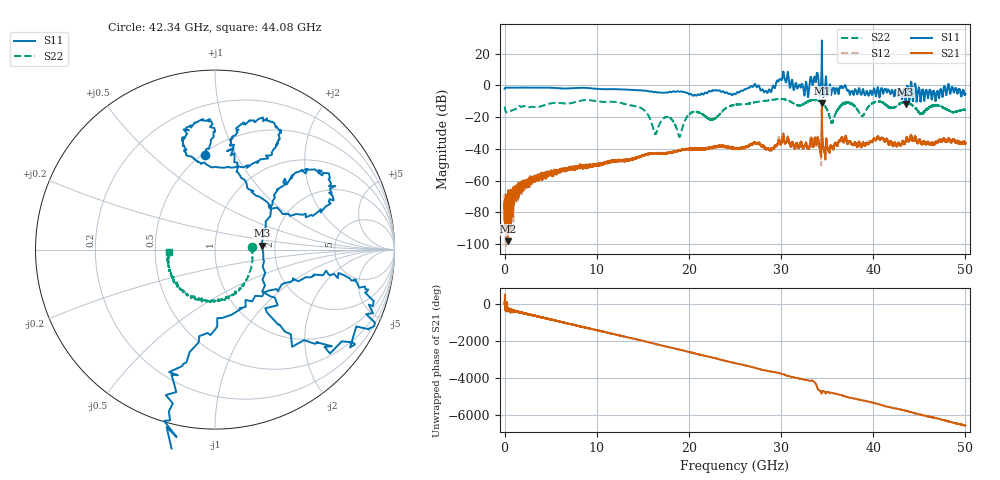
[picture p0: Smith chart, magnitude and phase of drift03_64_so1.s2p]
!Created with skrf (http://scikit-rf.org).
# Hz S RI R 50.0
!freq ReS11 ImS11 ReS21 ImS21 ReS12 ImS12 ReS22 ImS22
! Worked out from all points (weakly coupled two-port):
!   10000 points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, 5.3 MHz to 50 GHz, reference 50 ohm
!   highest |S21| = -11.10 dB at 34.43 GHz (marker M1); lowest = -98.2 dB at 365.3 MHz (marker M2)
!   lowest |S11| = -11.6 dB at 43.52 GHz (marker M3), VSWR 1.71, Z = 85.1 + j4.16 ohm
!   |S11| at or under -10 dB: 43.48784 GHz to 43.5506 GHz (62.77 MHz wide, 0.144 % of centre); 44.70659 GHz to 44.71221 GHz (5.622 MHz wide, 0.0126 % of centre); 45.13402 GHz to 45.13748 GHz (3.466 MHz wide, 0.00768 % of centre)
!   |S22| runs from -32.3 to -8.4 dB; largest |S21 - S12| = 0.091
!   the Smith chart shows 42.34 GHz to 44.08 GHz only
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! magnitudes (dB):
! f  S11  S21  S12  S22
! 5.3 MHz  -2.1  -73.8  -76.8  -13.3
! 365.3 MHz  -1.4  -98.2  -73.4  -16.8
! 2.985 GHz  -1.4  -58.0  -62.2  -13.4
! 8.34 GHz  -1.5  -50.8  -50.5  -9.5
! 14.57 GHz  -3.1  -45.4  -45.3  -13.6
! 16.67 GHz  -4.4  -42.9  -42.9  -26.3
! 17.8 GHz  -4.2  -42.5  -42.3  -20.0
! 19 GHz  -3.9  -41.0  -40.9  -32.2
! 20.3 GHz  -5.6  -40.5  -39.8  -17.0
! 22.56 GHz  -3.2  -39.0  -39.1  -21.6
! 25.01 GHz  -5.5  -39.7  -39.8  -12.1
! 30.14 GHz  4.3  -33.8  -34.2  -8.5
! 33.34 GHz  2.6  -34.5  -35.2  -9.3
! 34.43 GHz  28.4  -11.1  -13.2  -10.8
! 35.52 GHz  -3.7  -38.8  -38.7  -23.5
! 36.97 GHz  0.1  -32.8  -32.9  -11.0
! 38.78 GHz  -4.6  -37.8  -37.8  -19.2
! 40.17 GHz  -3.2  -34.0  -33.9  -10.5
! 41.67 GHz  -2.9  -36.8  -36.5  -13.7
! 43.52 GHz  -11.6  -35.2  -35.3  -10.7
! 45.2 GHz  -6.7  -36.2  -36.3  -17.7
! 50 GHz  -5.2  -36.0  -35.9  -15.6
